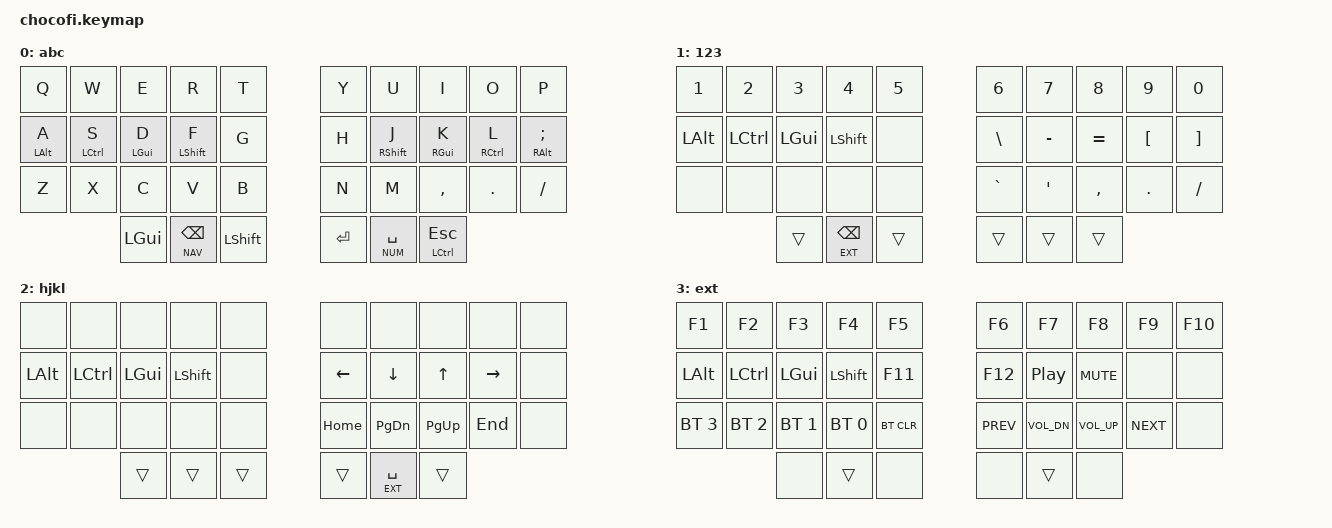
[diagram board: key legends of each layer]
/*
 * Copyright (c) 2020 The ZMK Contributors
 *
 * SPDX-License-Identifier: MIT
 */

// Define layer numbers
#define ___ &trans

#define BAS 0
#define NUM 1
#define NAV 2
#define EXT 3

// ZMK includes
#include <behaviors.dtsi>
#include <dt-bindings/zmk/keys.h>
#include <dt-bindings/zmk/bt.h>
#include <dt-bindings/zmk/rgb.h>
#include <dt-bindings/zmk/ext_power.h>

// Personal includes
#include "includes/settings.dtsi"
#include "includes/combos.dtsi"
#include "includes/behaviours_homerow_mods.dtsi"


/ {

  keymap {
    compatible = "zmk,keymap";

    Base_layer {
      label = "abc";
      bindings = <
  // ╭──────────────┬───────────────┬──────────────┬──────────────┬─────────────╮   ╭─────────────┬───────────────┬───────────────┬───────────────┬─────────────────╮
       &kp Q          &kp W           &kp E          &kp R          &kp T             &kp Y         &kp U           &kp I           &kp O           &kp P
  // ├───────────── ┼───────────────┼──────────────┼──────────────┼─────────────┤   ├─────────────┼───────────────┼───────────────┼───────────────┼─────────────────┤
       &hm_l LALT A   &hm_l LCTRL S   &hm_l LGUI D   &hm_l LSHFT F  &kp G             &kp H         &hm_r RSHFT J   &hm_r RGUI K    &hm_r RCTRL L   &hm_r RALT SEMI
  // ├───────────── ┼───────────────┼──────────────┼──────────────┼─────────────┤   ├─────────────┼───────────────┼───────────────┼───────────────┼─────────────────┤
       &kp Z          &kp X           &kp C          &kp V          &kp B             &kp N         &kp M           &kp COMMA       &kp DOT         &kp FSLH
  // ╰──────────────┴───────────────┼──────────────┼──────────────┼─────────────┤   ├─────────────┼───────────────┼───────────────┴───────────────┴─────────────────╯
                                      &kp LGUI       &lt NAV BSPC   &kp LSHFT         &kp RET       &lt NUM SPACE   &mt LCTRL ESC
  //                                ╰──────────────┴──────────────┴─────────────╯   ╰─────────────┴───────────────┴───────────────╯
        >;
    };

    Numbers_layer {
      label = "123";
      bindings = <
 // ╭──────────────┬──────────────┬──────────────┬─── ──────────┬─────────────╮   ╭──────────────┬──────────────┬──────────────┬───────────────┬──────────────╮
      &kp N1 /*!*/   &kp N2 /*@*/   &kp N3 /*#*/   &kp N4 /*$*/   &kp N5 /*%*/      &kp N6 /*^*/   &kp N7 /*&*/   &kp N8 /***/   &kp N9  /*(*/   &kp N0 /*)*/
 // ├──────────────┼──────────────┼──────────────┼──── ─────────┼─────────────┤   ├──────────────┼──────────────┼──────────────┼───────────────┼──────────────┤
      &kp LALT       &kp LCTRL      &kp LGUI       &kp LSHFT      &none             &kp BSLH       &kp MINUS      &kp EQUAL      &kp LBKT        &kp RBKT
 // ├──────────────┼──────────────┼──────────────┼───── ────────┼─────────────┤   ├──────────────┼──────────────┼──────────────┼───────────────┼──────────────┤
      &none          &none          &none          &none          &none             &kp GRAVE      &kp SQT        &kp COMMA      &kp DOT         &kp FSLH
 // ╰──────────────┴──────────────┼──────────────┼────── ───────┼─────────────┤   ├──────────────┼──────────────┼──────────────┴───────────────┴──────────────╯
                                    ___            &lt EXT BSPC   ___               ___            ___            ___
 //                               ╰──────────────┴─────── ──────┴─────────────╯   ╰──────────────┴──────────────┴──────────────╯
        >;
    };

    Nav_layer {
      label = "hjkl";
      bindings = <
 // ╭─────────────┬─────────────┬─────────────┬─────────────┬─────────────╮   ╭─────────────┬───────────────┬─────────────┬─────────────┬─────────────╮
      &none         &none         &none         &none         &none             &none         &none           &none         &none         &none
 // ├─────────────┼─────────────┼─────────────┼─────────────┼─────────────┤   ├─────────────┼───────────────┼─────────────┼─────────────┼─────────────┤
      &kp LALT      &kp LCTRL     &kp LGUI      &kp LSHFT     &none             &kp LEFT      &kp DOWN        &kp UP        &kp RIGHT     &none
 // ├─────────────┼─────────────┼─────────────┼─────────────┼─────────────┤   ├─────────────┼───────────────┼─────────────┼─────────────┼─────────────┤
      &none         &none         &none         &none         &none             &kp HOME      &kp PG_DN       &kp PG_UP     &kp END       &none
 // ╰─────────────┴─────────────┼─────────────┼─────────────┼─────────────┤   ├─────────────┼───────────────┼─────────────┴─────────────┴─────────────╯
                                  ___           ___           ___               ___           &lt EXT SPACE   ___
 //                             ╰─────────────┴─────────────┴─────────────╯   ╰─────────────┴───────────────┴─────────────╯
        >;
    };

    Extra_layer {
      label = "ext";
      bindings = <
 // ╭──────────────┬──────────────┬──────────────┬──────────────┬─────────────╮   ╭─────────────┬──────────────┬─────────────┬─────────────┬─────────────╮
      &kp F1         &kp F2         &kp F3         &kp F4         &kp F5            &kp F6        &kp F7         &kp F8        &kp F9        &kp F10
 // ├──────────────┼──────────────┼──────────────┼──────────────┼─────────────┤   ├─────────────┼──────────────┼─────────────┼─────────────┼─────────────┤
      &kp LALT       &kp LCTRL      &kp LGUI       &kp LSHFT      &kp F11           &kp F12       &kp C_PP       &kp K_MUTE    &none         &none
 // ├──────────────┼──────────────┼──────────────┼──────────────┼─────────────┤   ├─────────────┼──────────────┼─────────────┼─────────────┼─────────────┤
      &bt BT_SEL 3   &bt BT_SEL 2   &bt BT_SEL 1   &bt BT_SEL 0   &bt BT_CLR        &kp C_PREV    &kp C_VOL_DN   &kp C_VOL_UP  &kp C_NEXT    &none
 // ╰──────────────┴──────────────┼──────────────┼──────────────┼─────────────┤   ├─────────────┼──────────────┼─────────────┴─────────────┴─────────────╯
                                    &none          ___            &none             &none         ___            &none
 //                               ╰──────────────┴──────────────┴─────────────╯   ╰─────────────┴──────────────┴─────────────╯
        >;
    };
  };
};
